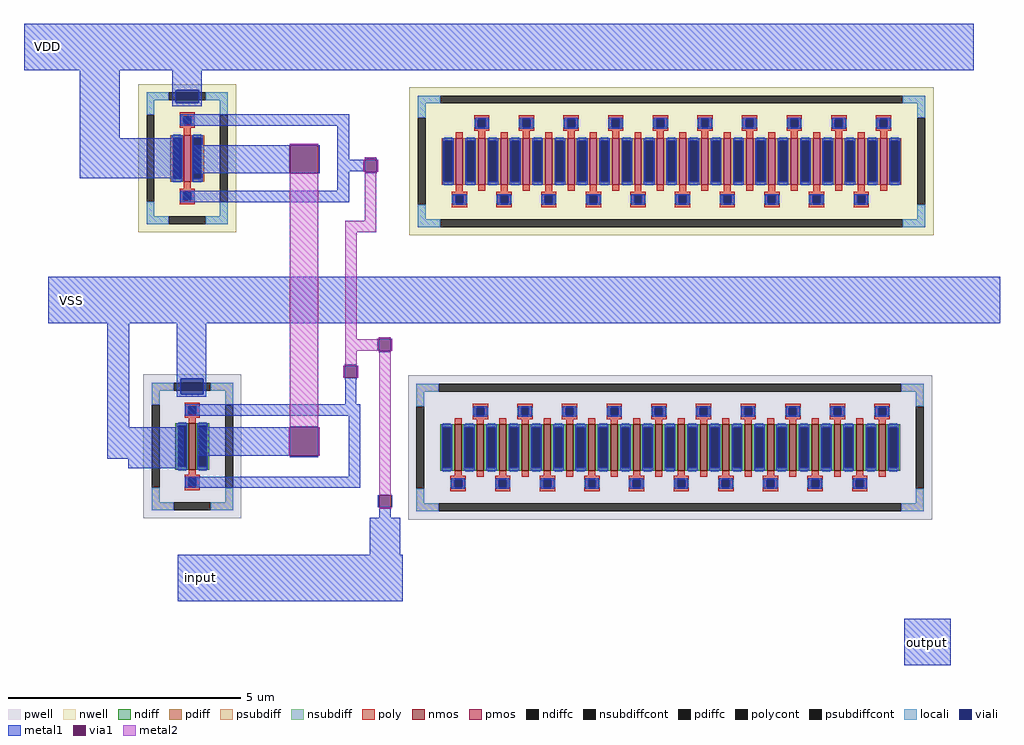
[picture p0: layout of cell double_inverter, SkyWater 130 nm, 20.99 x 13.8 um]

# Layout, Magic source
magic
tech sky130A
magscale 1 2
<< viali >>
rect 807 1769 905 1824
rect 828 517 925 583
<< metal1 >>
rect 154 1910 4239 2110
rect 394 1617 565 1910
rect 791 1824 918 1910
rect 791 1769 807 1824
rect 905 1769 918 1824
rect 791 1754 918 1769
rect 825 1671 1552 1721
rect 394 1446 823 1617
rect 882 1466 1298 1588
rect 1420 1466 1426 1588
rect 1502 1524 1552 1671
rect 1619 1525 1671 1531
rect 1502 1475 1619 1524
rect 1502 1391 1552 1475
rect 1619 1467 1671 1473
rect 826 1341 1552 1391
rect 258 821 4352 1021
rect 512 374 606 821
rect 810 583 937 821
rect 1680 755 1732 761
rect 1674 703 1680 755
rect 1732 703 1738 755
rect 1680 697 1732 703
rect 810 517 828 583
rect 925 517 937 583
rect 1534 638 1586 644
rect 1534 580 1586 586
rect 810 506 937 517
rect 1535 472 1584 580
rect 848 423 1600 472
rect 512 238 842 374
rect 1298 373 1420 379
rect 907 251 1298 373
rect 1298 245 1420 251
rect 602 197 842 238
rect 1551 162 1600 423
rect 848 113 1600 162
rect 1675 30 1681 82
rect 1733 30 1739 82
rect 1683 -15 1732 30
rect 1641 -174 1773 -15
rect 815 -374 1784 -174
rect 3940 -650 4140 -450
<< via1 >>
rect 1298 1466 1420 1588
rect 1619 1473 1671 1525
rect 1680 703 1732 755
rect 1534 586 1586 638
rect 1298 251 1420 373
rect 1681 30 1733 82
<< metal2 >>
rect 1298 1588 1420 1594
rect 1620 1525 1669 1535
rect 1613 1473 1619 1525
rect 1671 1473 1677 1525
rect 1298 373 1420 1466
rect 1620 1262 1669 1473
rect 1536 1213 1669 1262
rect 1536 753 1585 1213
rect 1680 755 1732 761
rect 1674 753 1680 755
rect 1536 704 1680 753
rect 1536 638 1585 704
rect 1674 703 1680 704
rect 1732 703 1738 755
rect 1680 697 1732 703
rect 1528 586 1534 638
rect 1586 586 1592 638
rect 1292 251 1298 373
rect 1420 251 1426 373
rect 1682 88 1731 697
rect 1681 82 1733 88
rect 1681 24 1733 30
use sky130_fd_pr__pfet_01v8_JBB8V5  XM1
transform 1 0 856 0 1 1531
box -211 -319 211 319
use sky130_fd_pr__nfet_01v8_VL8K8J  XM2
transform 1 0 878 0 1 292
box -211 -310 211 310
use sky130_fd_pr__pfet_01v8_FYAER9  XM3
transform 1 0 2939 0 1 1518
box -1127 -319 1127 319
use sky130_fd_pr__nfet_01v8_ETUKR2  XM4
transform 1 0 2933 0 1 287
box -1127 -310 1127 310
<< labels >>
flabel metal1 3940 -650 4140 -450 0 FreeSans 256 0 0 0 output
port 2 nsew
flabel metal1 154 1910 354 2110 0 FreeSans 256 0 0 0 VDD
port 0 nsew
flabel metal1 258 821 458 1021 0 FreeSans 256 0 0 0 VSS
port 1 nsew
flabel metal1 815 -374 1015 -174 0 FreeSans 256 0 0 0 input
port 3 nsew
<< end >>

# cell sky130_fd_pr__pfet_01v8_JBB8V5: kit device sky130_fd_pr__pfet_01v8, w 1.0 l 0.15 m 1 nf 1 diffcov 100 polycov 100 guard 1 glc 1 grc 1 gtc 1 gbc 1 tbcov 100 rlcov 100 topc 1 botc 1 poverlap 0 doverlap 1 lmin 0.15 wmin 0.42 class mosfet compatible {sky130_fd_pr__pfet_01v8 sky130_fd_pr__pfet_01v8_lvt sky130_fd_pr__pfet_01v8_hvt sky130_fd_pr__pfet_g5v0d10v5} full_metal 1 conn_gates 0 viasrc 100 viadrn 100 viagate 100 viagb 0 viagr 0 viagl 0 viagt 0 doports 1

# cell sky130_fd_pr__nfet_01v8_VL8K8J: kit device sky130_fd_pr__nfet_01v8, w 1.0 l 0.15 m 1 nf 1 diffcov 100 polycov 100 guard 1 glc 1 grc 1 gtc 1 gbc 1 tbcov 100 rlcov 100 topc 1 botc 1 poverlap 0 doverlap 1 lmin 0.15 wmin 0.42 class mosfet compatible {sky130_fd_pr__nfet_01v8 sky130_fd_pr__nfet_01v8_lvt sky130_fd_bs_flash__special_sonosfet_star sky130_fd_pr__nfet_g5v0d10v5 sky130_fd_pr__nfet_05v0_nvt sky130_fd_pr__nfet_03v3_nvt} full_metal 1 conn_gates 0 viasrc 100 viadrn 100 viagate 100 viagb 0 viagr 0 viagl 0 viagt 0 doports 1

# cell sky130_fd_pr__pfet_01v8_FYAER9: kit device sky130_fd_pr__pfet_01v8, w 1.0 l 0.15 m 1 nf 20 diffcov 100 polycov 100 guard 1 glc 1 grc 1 gtc 1 gbc 1 tbcov 100 rlcov 100 topc 1 botc 1 poverlap 0 doverlap 1 lmin 0.15 wmin 0.42 class mosfet compatible {sky130_fd_pr__pfet_01v8 sky130_fd_pr__pfet_01v8_lvt sky130_fd_pr__pfet_01v8_hvt sky130_fd_pr__pfet_g5v0d10v5} full_metal 1 conn_gates 0 viasrc 100 viadrn 100 viagate 100 viagb 0 viagr 0 viagl 0 viagt 0 doports 1

# cell sky130_fd_pr__nfet_01v8_ETUKR2: kit device sky130_fd_pr__nfet_01v8, w 1.0 l 0.15 m 1 nf 20 diffcov 100 polycov 100 guard 1 glc 1 grc 1 gtc 1 gbc 1 tbcov 100 rlcov 100 topc 1 botc 1 poverlap 0 doverlap 1 lmin 0.15 wmin 0.42 class mosfet compatible {sky130_fd_pr__nfet_01v8 sky130_fd_pr__nfet_01v8_lvt sky130_fd_bs_flash__special_sonosfet_star sky130_fd_pr__nfet_g5v0d10v5 sky130_fd_pr__nfet_05v0_nvt sky130_fd_pr__nfet_03v3_nvt} full_metal 1 conn_gates 0 viasrc 100 viadrn 100 viagate 100 viagb 0 viagr 0 viagl 0 viagt 0 doports 1
